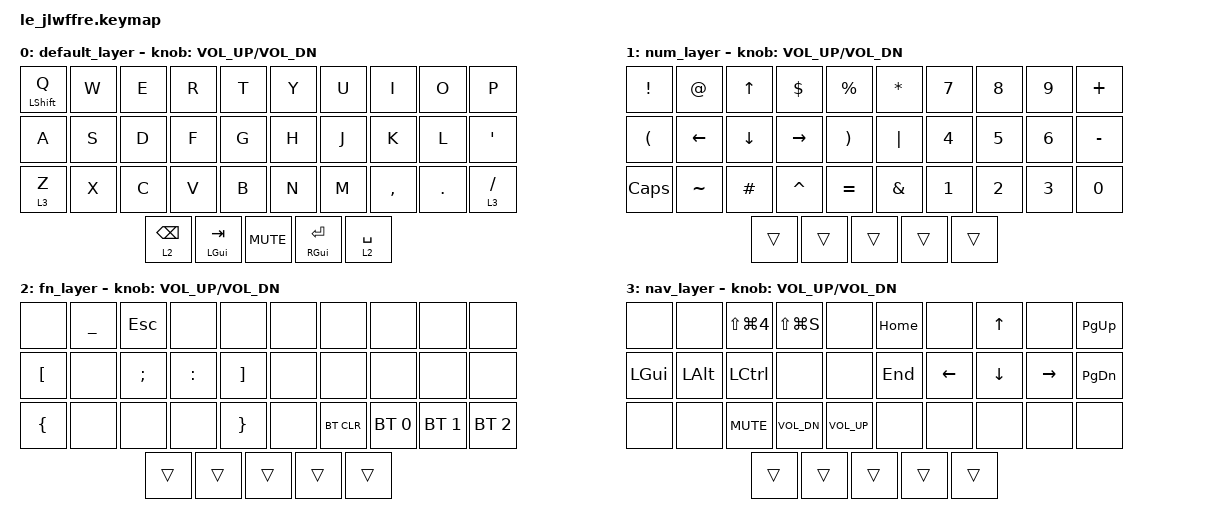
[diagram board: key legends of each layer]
/*
 * Copyright (c) 2022 The ZMK Contributors
 *
 * SPDX-License-Identifier: MIT
 */

#include <behaviors.dtsi>
#include <dt-bindings/zmk/keys.h>
#include <dt-bindings/zmk/bt.h>

/ {
    keymap {
        compatible = "zmk,keymap";

        default_layer {
            bindings = <
            //╭─────────────┬────────────┬──────────┬──────────┬──────────────╮                      ╭──────────────┬───────────┬───────────┬──────────┬───────────╮
            //│    Q        │     W      │    E     │    R     │      T       │                      │      Y       │     U     │     I     │    O     │   P       │
                &mt LSHFT Q      &kp W      &kp E      &kp R        &kp T                                 &kp Y         &kp U      &kp I      &kp O      &kp P     
            //├─────────────┼────────────┼──────────┼──────────┼──────────────┤                      ├──────────────┼───────────┼───────────┼──────────┼───────────┤
            //│     A       │     S      │    D     │    F     │      G       │                      │      H       │     J     │     K     │    L     │   ' "     │
                  &kp A          &kp S       &kp D      &kp F        &kp G                                 &kp H        &kp J       &kp K       &kp L      &kp SQT  
            //├─────────────┼────────────┼──────────┼──────────┼──────────────┤                      ├──────────────┼───────────┼───────────┼──────────┼───────────┤
            //│     Z       │     X      │    C     │    V     │      B       │                      │      N       │     M     │   , <     │   . >    │   / ?     │
                 &lt 3 Z         &kp X       &kp C      &kp V        &kp B                                 &kp N         &kp M     &kp COMMA   &kp DOT   &lt 3 FSLH 
            //╰─────────────┴────────────┴──────────┼──────────┼──────────────┤                      ├──────────────┼───────────┼───────────┴──────────┴───────────╯
                                                  &lt 2 BSPC    &mt LGUI TAB         &kp C_MUTE         &mt RGUI RET     &lt 2 SPACE
            //                                 ╰─────────────┴─────────────────╯                     ╰─────────────────┴───────────────╯
            >;
            sensor-bindings = <&inc_dec_kp C_VOL_UP C_VOL_DN>;
        };

        num_layer {
            bindings = <
            //╭──────────┬───────────┬─────────────┬──────────────┬─────────────╮      ╭──────────────┬───────────────┬───────────────┬──────────────┬──────────────╮
            //│    !     │     @     │     UP      │       $      │      %      │      │       *      │       7       │       8       │       9      │      +       │
                &kp EXCL     &kp AT      &kp UP         &kp DLLR     &kp PRCNT           &kp STAR        &kp N7          &kp N8          &kp N9         &kp PLUS
            //├──────────┼───────────┼─────────────┼──────────────┼─────────────┤      ├──────────────┼───────────────┼───────────────┼──────────────┼──────────────┤
            //│    (     │    LEFT   │    DOWN     │    RIGHT     │      )      │      │      |       │       4       │       5       │       6      │       -      │
                &kp LPAR    &kp LEFT    &kp DOWN      &kp RIGHT      &kp RPAR             &kp PIPE        &kp N4          &kp N5          &kp N6         &kp MINUS
            //├──────────┼───────────┼─────────────┼──────────────┼─────────────┤      ├──────────────┼───────────────┼───────────────┼──────────────┼──────────────┤
            //│   CAPS   │     ~     │      #      │      ^       │      =      │      │      &       │       1       │       2       │       3      │      0       │
                &kp CAPS   &kp TILDE    &kp HASH      &kp CARET       &kp EQUAL            &kp AMPS        &kp N1          &kp N2          &kp N3         &kp N0
            //╰──────────┴───────────┴─────────────┼──────────────┼─────────────┤      ├──────────────┼───────────────┼───────────────┴──────────────┴──────────────╯
                                                     &trans           &trans     &trans    &trans             &trans
            //                                 ╰──────────────────┴─────────────╯      ╰──────────────┴────────────────────╯
            >;
            sensor-bindings = <&inc_dec_kp C_VOL_UP C_VOL_DN>;
        };

        fn_layer {
            bindings = <
            //╭──────────┬────────────────┬────────────┬──────────┬──────────╮      ╭──────────┬────────────┬──────────┬──────────┬──────────╮
            //│          │       _        │    ESC     │          │          │      │          │            │          │          │          │
                 &none     &kp UNDERSCORE    &kp ESC     &none       &none             &none        &none       &none      &none      &none
            //├──────────┼────────────────┼──────────┼──────────┼────────────┤      ├──────────┼────────────┼──────────┼──────────┼──────────┤
            //│    [     │                │    ;      │    :      │    ]     │      │          │            │          │          │          │
                &kp LBKT      &none         &kp SEMI    &kp COLON   &kp RBKT           &none        &none       &none      &none      &none
            //├──────────┼────────────────┼──────────┼──────────┼────────────┤      ├──────────┼────────────┼──────────┼──────────┼──────────┤
            //│    {     │                │          │          │      }     │      │          │            │          │          │          │
                &kp LBRC      &none          &none       &none      &kp RBRC           &none     &bt BT_CLR   &bt BT_SEL 0  &bt BT_SEL 1  &bt BT_SEL 2
            //╰──────────┴────────────────┴──────────┼──────────┼────────────┤      ├──────────┼────────────┼──────────┴──────────┴──────────╯
                                                   &trans           &trans    &trans   &trans       &trans
            //                               ╰──────────────────┴────────────╯      ╰──────────┴──────────────────╯
            >;
            sensor-bindings = <&inc_dec_kp C_VOL_UP C_VOL_DN>;
        };

        nav_layer {
            bindings = <
            //╭──────────┬──────────┬──────────┬──────────┬──────────╮      ╭──────────┬──────────┬──────────┬──────────┬──────────╮
            //│          │          │          │          │          │      │  HOME    │          │  UP      │          │  PG_UP   │
                &none      &none    &kp LS(LG(N4)) &kp LS(LG(S)) &none         &kp HOME   &none      &kp UP     &none      &kp PG_UP
            //├──────────┼──────────┼──────────┼──────────┼──────────┤      ├──────────┼──────────┼──────────┼──────────┼──────────┤
            //│  LGUI    │  LALT    │  LCTRL   │          │          │      │  END     │  LEFT    │  DOWN    │  RIGHT   │  PG_DN   │
                &kp LGUI   &kp LALT   &kp LCTRL  &none      &none             &kp END    &kp LEFT   &kp DOWN  &kp RIGHT  &kp PG_DN
            //├──────────┼──────────┼──────────┼──────────┼──────────┤      ├──────────┼──────────┼──────────┼──────────┼──────────┤
            //│          │          │          │          │          │      │          │          │          │          │          │
                &none      &none      &kp C_MUTE &kp C_VOL_DN &kp C_VOL_UP    &none      &none      &none      &none      &none
            //╰──────────┴──────────┴──────────┼──────────┼──────────┤      ├──────────┼──────────┼──────────┴──────────┴──────────╯
                                                 &trans     &trans    &trans  &trans     &trans
            //                                 ╰──────────┴──────────╯      ╰──────────┴──────────╯
            >;
            sensor-bindings = <&inc_dec_kp C_VOL_UP C_VOL_DN>;
        };
    };
};
